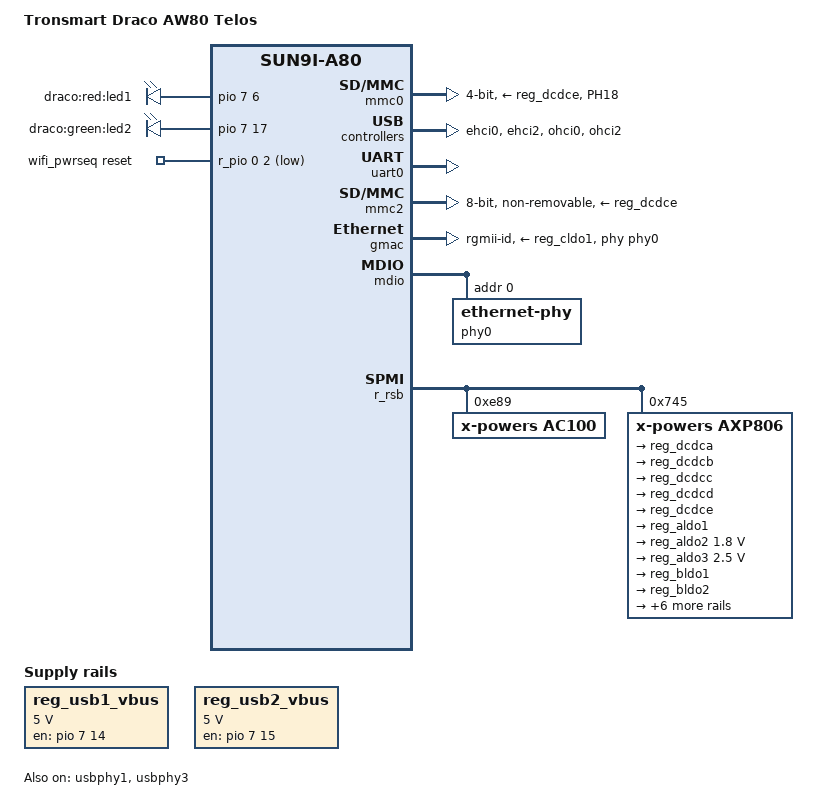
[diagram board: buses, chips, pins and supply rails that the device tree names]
// SPDX-License-Identifier: (GPL-2.0+ OR MIT)
/*
 * Tronsmart Draco AW80 Telos - Allwinner A80 (sun9i) TV box
 *   4 GB DDR3, 32 GB Samsung eMMC 5.0 on mmc2
 *   AXP806-equivalent PMIC ("AXP808") in MASTER mode on RSB
 *   Realtek RTL8211E gigabit PHY, AMPAK AP6335 (BCM4339) WiFi/BT on mmc1
 *
 * DRAFT - derived from sun9i-a80-cubieboard4.dts and from data read off the
 * running vendor system. GPIO assignments are NOT yet known; anything needing a
 * board GPIO is deliberately left out until schematics or sys_config.fex are
 * available. First goal is a serial console and eMMC.
 */

/*
 * NOTE: voltage constraints are deliberately omitted from the AXP806 rails.
 *
 * With explicit min/max present, the regulator core read every rail as 0.7 V
 * and rewrote it:
 *     vcc-pg-pm:   Bringing 700000uV into 1800000-1800000uV
 *     vcc-pa:      Bringing 700000uV into 2500000-2500000uV
 *     vcc-io-wifi: voltage operation not allowed
 * The live vendor system shows those rails already at 1800 and 2500 mV, so
 * mainline is misreading them - the AXP808 may not be register-identical to
 * the AXP806 after all.  Rewriting live rails with wrong values would brown
 * the board out, which matches the non-deterministic boot failures.
 *
 * Leaving the constraints out keeps the bootloader values.
 */
/dts-v1/;
#include "sun9i-a80.dtsi"

#include <dt-bindings/gpio/gpio.h>
#include <dt-bindings/interrupt-controller/irq.h>

/ {
	model = "Tronsmart Draco AW80 Telos";
	compatible = "tronsmart,draco-aw80", "allwinner,sun9i-a80";

	aliases {
		ethernet0 = &gmac;
		serial0 = &uart0;
	};

	chosen {
		stdout-path = "serial0:115200n8";
	};

	leds {
		compatible = "gpio-leds";

		led-0 {
			label = "draco:red:led1";
			gpios = <&pio 7 6 GPIO_ACTIVE_HIGH>;   /* PH6 */
			linux,default-trigger = "heartbeat";
		};

		led-1 {
			label = "draco:green:led2";
			gpios = <&pio 7 17 GPIO_ACTIVE_HIGH>;  /* PH17 */
		};
	};

	/*
	 * [usbc1] usb_drv_vbus_gpio = port:PH14.  MUST stay active-high: driving
	 * PH14/PH15 low kills VBUS on the blue USB3 socket too, so these pins gate
	 * a shared 5V USB rail rather than one socket each.  Verified 2026-08-26.
	 */
	reg_usb1_vbus: usb1-vbus {
		compatible = "regulator-fixed";
		regulator-name = "usb1-vbus";
		regulator-min-microvolt = <5000000>;
		regulator-max-microvolt = <5000000>;
		enable-active-high;
		gpio = <&pio 7 14 GPIO_ACTIVE_HIGH>;       /* PH14 */
	};

	/* [usbc2] usb_drv_vbus_gpio = port:PH15 -> usbphy3 / ehci2 */
	reg_usb2_vbus: usb2-vbus {
		compatible = "regulator-fixed";
		regulator-name = "usb2-vbus";
		regulator-min-microvolt = <5000000>;
		regulator-max-microvolt = <5000000>;
		enable-active-high;
		gpio = <&pio 7 15 GPIO_ACTIVE_HIGH>;       /* PH15 */
	};

	/*
	 * AMPAK AP6335 (BCM4339).  [wifi_para] ap6xxx_wl_regon = port:PL02.
	 * TODO: the module also wants a 32.768 kHz LPO, which on the dev boards
	 * comes from the AC100 (clocks = <&ac100_rtc 1>).  No AC100 node here yet,
	 * so WiFi may not associate until that is added.
	 */
	wifi_pwrseq: wifi-pwrseq {
		compatible = "mmc-pwrseq-simple";
		clocks = <&ac100_rtc 1>;
		clock-names = "ext_clock";
		reset-gpios = <&r_pio 0 2 GPIO_ACTIVE_LOW>; /* PL2 WL-REG-ON */
	};
};

/* [mmc0_para] SD card slot: 4-bit on PF0-PF5, card detect on PH18 */
&mmc0 {
	pinctrl-names = "default";
	pinctrl-0 = <&mmc0_pins>, <&mmc0_cd_pin>;
	vmmc-supply = <&reg_dcdce>;
	bus-width = <4>;
	/*
	 * Card detect is PH18 and the vendor configures it with a pull-up
	 * (sys_config.fex: sdc_det = port:PH18<6><1><2><default>).  Our tree
	 * set no bias at all, so the line floated LOW and the driver believed
	 * a card was permanently inserted - measured: slot empty reads 0 with
	 * the pull off and 1 with it on.  mmc0_cd_pin below fixes that.
	 *
	 * With the pull-up enabled the line still does not go low when a card
	 * is inserted, so the detect switch itself is not reaching PH18 on
	 * this board.  broken-cd makes the driver poll instead, which does not
	 * depend on that switch.  cd-gpios is deliberately dropped - it and
	 * broken-cd are mutually exclusive.
	 */
	broken-cd;
	/*
	 * Cap the bus clock.  Left uncapped this controller enumerates a card
	 * and then fails every transfer:
	 *     sunxi-mmc 1c0f000.mmc: data error, sending stop command
	 *     sunxi-mmc 1c0f000.mmc: send stop command failed
	 * so no partition table is readable and the boot ROM cannot load an
	 * SPL from the card.  mmc2 (eMMC) needed exactly the same treatment.
	 */
	max-frequency = <25000000>;
	status = "okay";
};

/* [mmc1_para] SDIO WiFi: 4-bit on PG0-PG5, sdc_isio = 1 */
&mmc1 {
	pinctrl-names = "default";
	pinctrl-0 = <&mmc1_pins>;
	mmc-pwrseq = <&wifi_pwrseq>;
	vmmc-supply = <&reg_cldo3>;
	vqmmc-supply = <&reg_aldo2>;
	bus-width = <4>;
	non-removable;
	/* start slow while the clk-update timeout is being chased */
	max-frequency = <25000000>;
	/*
	 * DISABLED.  Still throws
	 *     sunxi-mmc 1c10000.mmc: fatal err update clk timeout
	 * and eventually stops the system, even with the AC100 LPO clock now
	 * present.  The AC100 did help - wifi-pwrseq probes cleanly and root
	 * now mounts with this controller enabled - but the controller itself
	 * is still broken.  See 17-mmc1-investigation.md.
	 */
	status = "disabled";
};

&mmc1_pins {
	bias-pull-up;
};

&usbphy1 {
	/* [usbc1] host, VBUS on PH14 */
	phy-supply = <&reg_usb1_vbus>;
	status = "okay";
};

&usbphy2 {
	/*
	 * HSIC PHY (supplied by BLDO4, vcc12-hsic).  sys_config.fex lists only
	 * usbc0/usbc1/usbc2, and the vendor kernel brings up exactly two EHCI
	 * and two OHCI controllers - so there is no third USB2 host port here.
	 */
	status = "disabled";
};
&usbphy3 {
	/* [usbc2] host, VBUS on PH15 */
	phy-supply = <&reg_usb2_vbus>;
	status = "okay";
};

&ehci0 {
	status = "okay";
};

&ehci1 {
	/* HSIC controller - no HSIC device fitted on this board */
	status = "disabled";
};

&ehci2 {
	status = "okay";
};

&ohci0 {
	status = "okay";
};

&ohci2 {
	status = "okay";
};
&osc32k {
	/* osc32k input is from the AC100 */
	clocks = <&ac100_rtc 0>;
};

&uart0 {
	pinctrl-names = "default";
	pinctrl-0 = <&uart0_ph_pins>;
	status = "okay";
};

/* 32 GB Samsung BWBC3R eMMC 5.0. Vendor BSP runs it 4-bit; try 8-bit. */
&mmc2 {
	pinctrl-names = "default";
	pinctrl-0 = <&mmc2_8bit_pins>;
	vmmc-supply = <&reg_dcdce>;
	vqmmc-supply = <&reg_dcdce>;
	/*
	 * Enumerates as high speed DDR then throws
	 *   data error, sending stop command / send stop command failed
	 * Cap the clock while that is investigated.
	 */
	max-frequency = <25000000>;
	bus-width = <8>;
	non-removable;
	cap-mmc-hw-reset;
	status = "okay";
};

&mmc2_8bit_pins {
	/* Increase drive strength for DDR modes */
	drive-strength = <40>;
};

&gmac {
	pinctrl-names = "default";
	pinctrl-0 = <&gmac_rgmii_pins>;
	phy-mode = "rgmii-id";
	phy-supply = <&reg_cldo1>;
	phy-handle = <&phy0>;
	/*
	 * Force the MDIO clock divider.  bus-gmac runs at 240 MHz and stmmac
	 * picks the CSR range from it; the default lands on div 42, giving
	 * MDC = 240/42 = 5.7 MHz.  The MDIO spec caps MDC at 2.5 MHz, so no
	 * PHY answers.  clk_csr = 4 selects the 150-250 MHz range, div 102:
	 * 240 / 102 = 2.35 MHz, in spec.  U-Boot's designware driver hardcodes
	 * that same range (MII_CLKRANGE_150_250M), so it needs no equivalent.
	 */
	snps,clk-csr = <4>;
	status = "okay";
};

&mdio {
	/*
	 * RTL8211E at address 0, ID 001cc915 - confirmed by direct MDIO reads
	 * once the vcc-pa bank (aldo3, 2500 mV) was powered correctly.
	 */
	phy0: ethernet-phy@0 {
		reg = <0>;
	};
};

&pio {
	vcc-pa-supply = <&reg_aldo3>;
	vcc-pb-supply = <&reg_dcdce>;
	vcc-pc-supply = <&reg_dcdce>;
	vcc-pd-supply = <&reg_dcdce>;
	vcc-pe-supply = <&reg_dcdce>;
	vcc-pf-supply = <&reg_dcdce>;
	vcc-pg-supply = <&reg_aldo2>;
	vcc-ph-supply = <&reg_dcdce>;
	/*
	 * SD card detect.  The vendor configures this pin with a pull-up
	 * (sdc_det = port:PH18<6><1><2><default>); our tree set no bias, so
	 * the line floated LOW and the driver saw a card permanently present.
	 */
	mmc0_cd_pin: mmc0-cd-pin {
		pins = "PH18";
		function = "gpio_in";
		bias-pull-up;
	};

};

&r_pio {
	vcc-pl-supply = <&reg_cldo1>;
	vcc-pm-supply = <&reg_aldo2>;
};

&r_rsb {
	status = "okay";

	/*
	 * The board is fitted with a part branded AXP808. Every rail it
	 * exposes matches the AXP806 exactly, including the distinctive
	 * 0.7-4.2 V CLDO2, and mainline axp20x performs no chip-ID check -
	 * the variant comes from the compatible alone. Unlike the A80 dev
	 * boards, there is no AXP809 here and this part runs standalone,
	 * hence x-powers,master-mode.
	 */
	/*
	 * X-Powers AC100 audio codec + RTC (confirmed on the board teardown).
	 * Its RTC block provides the 32.768 kHz clocks: output 0 feeds osc32k,
	 * output 1 is the LPO the AP6335 WiFi module needs.  Without it the
	 * module has no reference clock and may never respond, which is the
	 * leading theory for mmc1 wedging the bus.
	 */
	ac100: codec@e89 {
		compatible = "x-powers,ac100";
		reg = <0xe89>;

		ac100_codec: codec {
			compatible = "x-powers,ac100-codec";
			interrupt-parent = <&r_pio>;
			interrupts = <0 9 IRQ_TYPE_LEVEL_LOW>; /* PL9 */
			#clock-cells = <0>;
			clock-output-names = "4M_adda";
		};

		ac100_rtc: rtc {
			compatible = "x-powers,ac100-rtc";
			interrupt-parent = <&nmi_intc>;
			interrupts = <0 IRQ_TYPE_LEVEL_LOW>;
			clocks = <&ac100_codec>;
			#clock-cells = <1>;
			clock-output-names = "cko1_rtc",
					     "cko2_rtc",
					     "cko3_rtc";
		};
	};

	axp806: pmic@745 {
		compatible = "x-powers,axp806";
		reg = <0x745>;
		interrupt-parent = <&nmi_intc>;
		interrupts = <0 IRQ_TYPE_LEVEL_LOW>;
		interrupt-controller;
		#interrupt-cells = <1>;
		x-powers,master-mode;

		regulators {
			/* observed 840 mV, range 600-1520; cubieboard4 calls DCDCA vdd-cpub */
			reg_dcdca: dcdca {
				regulator-always-on;
				regulator-name = "vdd-cpus";
			};

			/* observed 1500 mV - DDR3 supply */
			reg_dcdcb: dcdcb {
				regulator-always-on;
				regulator-name = "vcc-dram";
			};

			/* observed 900-1000 mV, CPU-class range. Consumer UNVERIFIED. */
			reg_dcdcc: dcdcc {
				regulator-always-on;
				regulator-name = "vdd-cpus-or-gpu";
			};

			/* observed 900 mV; cubieboard4 calls DCDCD vdd-vpu */
			reg_dcdcd: dcdcd {
				regulator-always-on;
				regulator-name = "vdd-vpu";
			};

			/*
			 * Main 3.3 V I/O rail.  Vendor gpio bias map puts PB, PC,
			 * PD, PE, PF and PH on this at 3300 mV.  PC is the eMMC
			 * and PF the SD slot, so this is also their vmmc/vqmmc.
			 */
			reg_dcdce: dcdce {
				regulator-always-on;
				regulator-name = "vcc-io-3v3";
			};

			reg_aldo1: aldo1 {
				regulator-always-on;
				regulator-name = "avcc";
			};

			/*
			 * PG and PM pin bias, 1.8 V (vendor gpio bias map, and
			 * the vendor boot log shows aldo2 at 1800 mV).  PG is the
			 * mmc1/SDIO bank, so a 700 mV floor here is a candidate
			 * cause of the mmc1 clock-update timeout as well.
			 */
			reg_aldo2: aldo2 {
				regulator-always-on;
				regulator-min-microvolt = <1800000>;
				regulator-max-microvolt = <1800000>;
				regulator-name = "vcc-pg-pm";
			};

			/*
			 * PA pin bank bias.  Every GMAC pin lives here and RGMII
			 * is 2.5 V signalling; the vendor runs aldo3 at 2500 mV.
			 * With no constraints this floored at 700 mV, which held
			 * MDC (PA16) and MDIO (PA17) low even against an internal
			 * pull-up - measured - so no PHY could ever answer.
			 */
			reg_aldo3: aldo3 {
				regulator-always-on;
				regulator-min-microvolt = <2500000>;
				regulator-max-microvolt = <2500000>;
				regulator-name = "vcc-pa";
			};

			reg_bldo1: bldo1 {
				regulator-always-on;
				regulator-name = "vcc18-efuse-adc-display";
			};

			reg_bldo2: bldo2 {
				regulator-always-on;
				regulator-name = "vdd09-drampll";
			};

			/*
			 * Vendor boot log shows bldo3 at 1200 mV.  Consumer not
			 * positively identified - candidate PHY core supply.
			 */
			reg_bldo3: bldo3 {
				regulator-always-on;
				regulator-min-microvolt = <1200000>;
				regulator-max-microvolt = <1200000>;
				regulator-name = "vcc12-bldo3";
			};

			/*
			 * Named vcc12-hsic after the Optimus, but no HSIC device
			 * is fitted here.  Vendor boot log: bldo4 at 1100 mV.
			 * Enabled at the vendor value while hunting the PHY.
			 */
			reg_bldo4: bldo4 {
				regulator-always-on;
				regulator-min-microvolt = <1100000>;
				regulator-max-microvolt = <1100000>;
				regulator-name = "vcc12-hsic";
			};

			/* vendor boot log: cldo1 at 3300 mV */
			reg_cldo1: cldo1 {
				regulator-always-on;
				regulator-enable-ramp-delay = <100000>;
				regulator-min-microvolt = <3300000>;
				regulator-max-microvolt = <3300000>;
				regulator-name = "vcc-gmac-phy";
			};

			/* Vendor boot log shows cldo2 at 1900 mV. */
			reg_cldo2: cldo2 {
				regulator-always-on;
				regulator-min-microvolt = <1900000>;
				regulator-max-microvolt = <1900000>;
				regulator-name = "vcc19-cldo2";
			};

			/*
			 * WiFi module supply (vendor: wifi_power_ext1 =
			 * axp15_cldo3, running at 1900 mV).  Must stay enabled -
			 * with it off, mmc1 throws
			 *   sunxi-mmc 1c10000.mmc: fatal err update clk timeout
			 * which killed the whole boot.
			 */
			reg_cldo3: cldo3 {
				regulator-always-on;
				regulator-min-microvolt = <1900000>;
				regulator-max-microvolt = <1900000>;
				regulator-name = "vcc-io-wifi";
			};

			reg_sw: sw {
				regulator-always-on;
				regulator-name = "vcc-sw";
				/* last rail still off; load unidentified */
			};
		};
	};
};

/*
 * OPP tables and cpu-supply are DISABLED for now.
 *
 * cpufreq-dt walks every CPU and aborts entirely if any lacks an OPP node:
 *     of: /cpus/cpu@100: Couldn t find opp node
 *     cpu cpu1: error -EBUSY: failed to set regulators
 *     cpufreq-dt: probe failed with error -16
 * We can only supply the A7 cluster (AXP806 DCDCA); the A15 runs off an
 * external OZ8012x with no mainline driver, so a partial table is not
 * acceptable to cpufreq-dt.  See 10-cpufreq-implementation.md.
 *
 * The failed probe also lands milliseconds before the console dies, so it is
 * removed here to take it out of the picture.
 */
